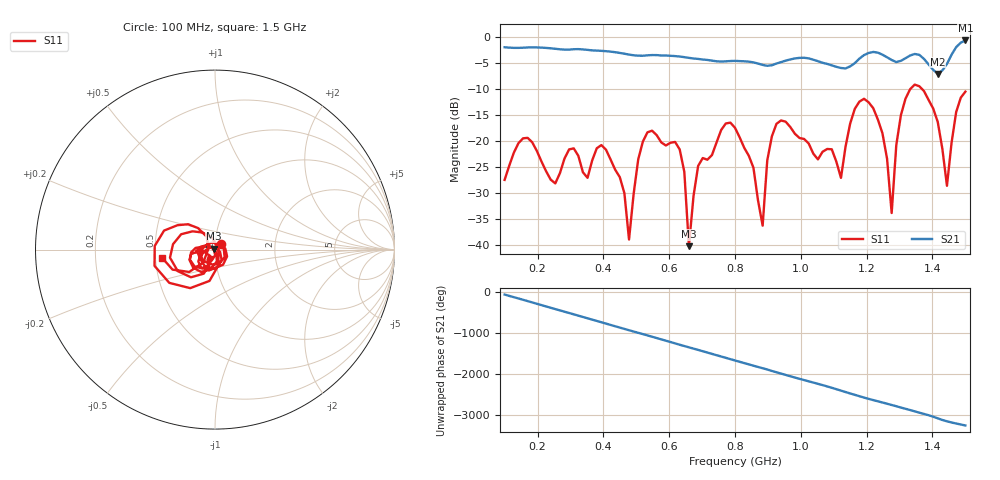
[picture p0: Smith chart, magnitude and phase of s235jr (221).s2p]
! NanoVNA-App
! Date: 2025-09-25 15:05:53
! Start: 100MHz Stop: 1,5GHz Points: 101
! S-Parameter data: F S11 S21 S12 S22
# Hz S RI R 50
!  Frequency  S11_Real  S11_Imag  S21_Real  S21_Imag  S12_Real  S12_Imag  S22_Real  S22_Imag
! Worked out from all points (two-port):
!   101 points, 100 MHz to 1.5 GHz, reference 50 ohm
!   highest |S21| = -0.66 dB at 1.5 GHz (marker M1); lowest = -7.1 dB at 1.416 GHz (marker M2)
!   |S21| within 3 dB of the highest: start of sweep to 616.3 MHz; 1.188 GHz to 1.255 GHz (67.15 MHz wide, 5.5 % of centre) (the widest 2 of 4)
!   lowest |S11| = -40.2 dB at 660 MHz (marker M3), VSWR 1.02, Z = 49.2 + j0.544 ohm
!   |S11| at or under -10 dB: start of sweep to 1.333 GHz; 1.368 GHz to end of sweep
!   S12 and S22 are empty: the file has one direction only
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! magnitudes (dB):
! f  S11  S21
! 100 MHz  -27.5  -2.0
! 170 MHz  -19.4  -2.0
! 338 MHz  -26.0  -2.4
! 408 MHz  -21.7  -2.7
! 478 MHz  -38.9  -3.4
! 520 MHz  -20.1  -3.6
! 576 MHz  -20.3  -3.6
! 632 MHz  -21.6  -3.7
! 660 MHz  -40.2  -4.0
! 688 MHz  -24.8  -4.2
! 800 MHz  -17.5  -4.6
! 884 MHz  -36.3  -5.4
! 926 MHz  -16.7  -5.1
! 1.038 GHz  -22.4  -4.4
! 1.122 GHz  -27.1  -6.0
! 1.206 GHz  -12.5  -3.1
! 1.276 GHz  -33.8  -4.4
! 1.29 GHz  -20.8  -4.8
! 1.332 GHz  -10.0  -3.5
! 1.416 GHz  -16.3  -7.1
! 1.444 GHz  -28.6  -5.2
! 1.5 GHz  -10.5  -0.7
